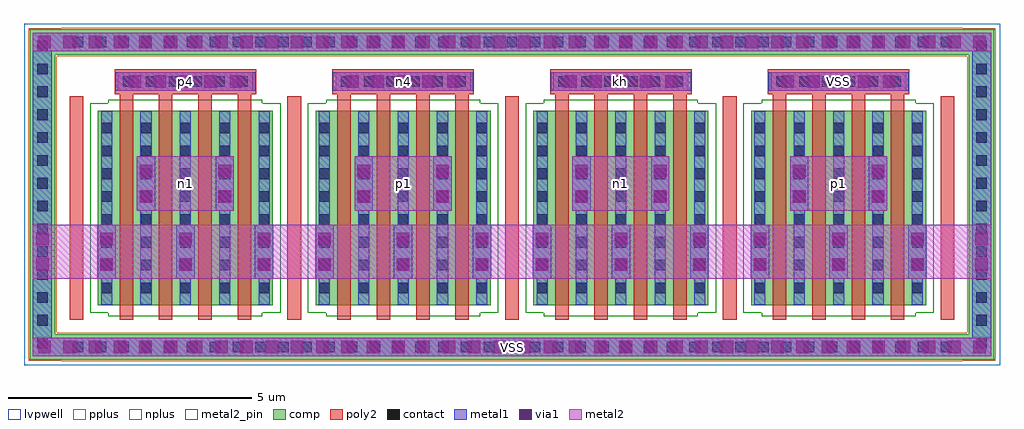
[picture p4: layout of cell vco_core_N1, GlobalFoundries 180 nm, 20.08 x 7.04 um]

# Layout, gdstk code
import gdstk
lib = gdstk.Library(unit=1e-6, precision=1e-09)
def R(c, l, rs):  # rectangles x0, y0, x1, y1
    for r in rs: c.add(gdstk.rectangle(r[:2], r[2:], *l))
def A(c, l, x, y, w, h, nx, ny, dx, dy):  # array of equal rectangles
    R(c, l, [(x+i*dx, y+j*dy, x+i*dx+w, y+j*dy+h) for i in range(nx) for j in range(ny)])
comp = (22, 0)
poly2 = (30, 0)
pplus = (31, 0)
nplus = (32, 0)
contact = (33, 0)
metal1 = (34, 0)
via1 = (35, 0)
metal2 = (36, 0)
metal2_pin = (36, 10)
lvpwell = (204, 0)

vco_core_n1 = lib.new_cell('vco_core_N1')
A(vco_core_n1, comp, 0, 0.3, 3.6, 4, 4, 1, 4.48, 0)
R(vco_core_n1, comp, [(-1.4,-0.82,18.44,-0.3), (-1.4,-0.3,-0.88,5.455), (17.92,-0.3,18.44,5.455), (-1.4,5.455,18.44,5.975)])
A(vco_core_n1, poly2, -0.58, 0, 0.28, 4.6, 5, 1, 4.48, 0)
A(vco_core_n1, poly2, 0.445, 0, 0.28, 4.645, 4, 1, 0.81, 0)
A(vco_core_n1, poly2, 4.925, 0, 0.28, 4.645, 4, 1, 0.81, 0)
A(vco_core_n1, poly2, 9.405, 0, 0.28, 4.645, 4, 1, 0.81, 0)
A(vco_core_n1, poly2, 13.885, 0, 0.28, 4.645, 4, 1, 0.81, 0)
A(vco_core_n1, poly2, 0.345, 4.645, 2.91, 0.51, 4, 1, 4.48, 0)
R(vco_core_n1, pplus, [(-0.74,-0.85,17.78,-0.84), (-1.42,-0.84,18.46,-0.795), (-1.43,-0.795,18.47,-0.27), (-1.43,-0.27,-0.85,5.425), (17.89,-0.27,18.47,5.425), (-1.43,5.425,18.47,5.95), (-1.42,5.95,18.46,5.995), (-0.74,5.995,17.78,6.005)])
A(vco_core_n1, nplus, 0.215, 0.07, 3.17, 0.07, 4, 2, 4.48, 4.39)
A(vco_core_n1, nplus, -0.16, 0.14, 3.92, 4.32, 4, 1, 4.48, 0)
A(vco_core_n1, contact, -0.52, -0.67, 0.22, 0.22, 39, 2, 0.47, 6.275)
A(vco_core_n1, contact, -1.25, -0.59, 0.22, 0.22, 1, 14, 0, 0.47)
A(vco_core_n1, contact, 18.07, -0.59, 0.22, 0.22, 1, 14, 0, 0.47)
A(vco_core_n1, contact, 0.07, 0.545, 0.22, 0.22, 5, 8, 0.81, 0.47)
A(vco_core_n1, contact, 4.55, 0.545, 0.22, 0.22, 5, 8, 0.81, 0.47)
A(vco_core_n1, contact, 9.03, 0.545, 0.22, 0.22, 5, 8, 0.81, 0.47)
A(vco_core_n1, contact, 13.51, 0.545, 0.22, 0.22, 5, 8, 0.81, 0.47)
A(vco_core_n1, contact, 0.515, 4.79, 0.22, 0.22, 6, 1, 0.47, 0)
A(vco_core_n1, contact, 4.995, 4.79, 0.22, 0.22, 6, 1, 0.47, 0)
A(vco_core_n1, contact, 9.475, 4.79, 0.22, 0.22, 6, 1, 0.47, 0)
A(vco_core_n1, contact, 13.955, 4.79, 0.22, 0.22, 6, 1, 0.47, 0)
A(vco_core_n1, metal1, 0.065, 0.31, 0.23, 0.53, 3, 1, 1.62, 0)
A(vco_core_n1, metal1, 4.545, 0.31, 0.23, 0.53, 3, 1, 1.62, 0)
A(vco_core_n1, metal1, 9.025, 0.31, 0.23, 0.53, 3, 1, 1.62, 0)
A(vco_core_n1, metal1, 13.505, 0.31, 0.23, 0.53, 3, 1, 1.62, 0)
A(vco_core_n1, metal1, -0.01, 0.84, 0.38, 1.12, 3, 1, 1.62, 0)
A(vco_core_n1, metal1, 4.47, 0.84, 0.38, 1.12, 3, 1, 1.62, 0)
A(vco_core_n1, metal1, 8.95, 0.84, 0.38, 1.12, 3, 1, 1.62, 0)
A(vco_core_n1, metal1, 13.43, 0.84, 0.38, 1.12, 3, 1, 1.62, 0)
A(vco_core_n1, metal1, 0.065, 1.96, 0.23, 2.33, 3, 1, 1.62, 0)
A(vco_core_n1, metal1, 4.545, 1.96, 0.23, 2.33, 3, 1, 1.62, 0)
A(vco_core_n1, metal1, 9.025, 1.96, 0.23, 2.33, 3, 1, 1.62, 0)
A(vco_core_n1, metal1, 13.505, 1.96, 0.23, 2.33, 3, 1, 1.62, 0)
A(vco_core_n1, metal1, 0.355, 4.71, 2.89, 0.38, 4, 1, 4.48, 0)
R(vco_core_n1, metal1, [(-1.335,-0.755,18.375,-0.365), (-1.335,-0.365,-0.945,5.52), (17.985,-0.365,18.375,5.52), (0.875,0.31,1.105,2.24), (2.495,0.31,2.725,2.24), (5.355,0.31,5.585,2.24), (6.975,0.31,7.205,2.24), (9.835,0.31,10.065,2.24), (11.455,0.31,11.685,2.24), (14.315,0.31,14.545,2.24), (15.935,0.31,16.165,2.24), (0.8,2.24,1.18,3.36), (2.42,2.24,2.8,3.36), (5.28,2.24,5.66,3.36), (6.9,2.24,7.28,3.36), (9.76,2.24,10.14,3.36), (11.38,2.24,11.76,3.36), (14.24,2.24,14.62,3.36), (15.86,2.24,16.24,3.36), (0.875,3.36,1.105,4.29), (2.495,3.36,2.725,4.29), (5.355,3.36,5.585,4.29), (6.975,3.36,7.205,4.29), (9.835,3.36,10.065,4.29), (11.455,3.36,11.685,4.29), (14.315,3.36,14.545,4.29), (15.935,3.36,16.165,4.29), (-1.335,5.52,18.375,5.91)])
A(vco_core_n1, via1, -1.23, -0.69, 0.26, 0.26, 38, 2, 0.52, 6.275)
A(vco_core_n1, via1, 0.05, 1.01, 0.26, 0.26, 3, 2, 1.62, 0.52)
A(vco_core_n1, via1, 4.53, 1.01, 0.26, 0.26, 3, 2, 1.62, 0.52)
A(vco_core_n1, via1, 9.01, 1.01, 0.26, 0.26, 3, 2, 1.62, 0.52)
A(vco_core_n1, via1, 13.49, 1.01, 0.26, 0.26, 3, 2, 1.62, 0.52)
A(vco_core_n1, via1, 0.63, 4.77, 0.26, 0.26, 5, 1, 0.52, 0)
A(vco_core_n1, via1, 5.11, 4.77, 0.26, 0.26, 5, 1, 0.52, 0)
A(vco_core_n1, via1, 9.59, 4.77, 0.26, 0.26, 5, 1, 0.52, 0)
A(vco_core_n1, via1, 14.07, 4.77, 0.26, 0.26, 5, 1, 0.52, 0)
R(vco_core_n1, via1, [(-1.27,1.01,-1.01,1.27), (18.05,1.01,18.31,1.27), (-1.27,1.53,-1.01,1.79), (18.05,1.53,18.31,1.79), (0.86,2.41,1.12,2.67), (2.48,2.41,2.74,2.67), (5.34,2.41,5.6,2.67), (6.96,2.41,7.22,2.67), (9.82,2.41,10.08,2.67), (11.44,2.41,11.7,2.67), (14.3,2.41,14.56,2.67), (15.92,2.41,16.18,2.67), (0.86,2.93,1.12,3.19), (2.48,2.93,2.74,3.19), (5.34,2.93,5.6,3.19), (6.96,2.93,7.22,3.19), (9.82,2.93,10.08,3.19), (11.44,2.93,11.7,3.19), (14.3,2.93,14.56,3.19), (15.92,2.93,16.18,3.19)])
A(vco_core_n1, metal2, 0.8, 2.24, 2, 1.12, 4, 1, 4.48, 0)
A(vco_core_n1, metal2, 0.41, 4.71, 2.78, 0.38, 4, 1, 4.48, 0)
R(vco_core_n1, metal2, [(-1.335,-0.755,18.375,-0.365), (-1.335,0.84,18.375,1.96), (-1.335,5.52,18.375,5.91)])
A(vco_core_n1, metal2_pin, 0.8, 2.24, 2, 1.12, 4, 1, 4.48, 0)
A(vco_core_n1, metal2_pin, 0.41, 4.71, 2.78, 0.38, 4, 1, 4.48, 0)
R(vco_core_n1, metal2_pin, [(-1.335,-0.755,18.375,-0.365)])
R(vco_core_n1, lvpwell, [(-1.52,-0.94,18.56,6.095)])
vco_core_n1.add(gdstk.Label('n1', (10.76,2.8), layer=36, texttype=10))
vco_core_n1.add(gdstk.Label('n1', (1.8,2.8), layer=36, texttype=10))
vco_core_n1.add(gdstk.Label('p4', (1.8,4.9), layer=36, texttype=10))
vco_core_n1.add(gdstk.Label('p1', (15.24,2.8), layer=36, texttype=10))
vco_core_n1.add(gdstk.Label('p1', (6.28,2.8), layer=36, texttype=10))
vco_core_n1.add(gdstk.Label('n4', (6.28,4.9), layer=36, texttype=10))
vco_core_n1.add(gdstk.Label('kh', (10.76,4.9), layer=36, texttype=10))
vco_core_n1.add(gdstk.Label('VSS', (8.52,-0.56), layer=36, texttype=10))
vco_core_n1.add(gdstk.Label('VSS', (15.24,4.9), layer=36, texttype=10))

lib.write_gds('vco_core_N1.gds')
